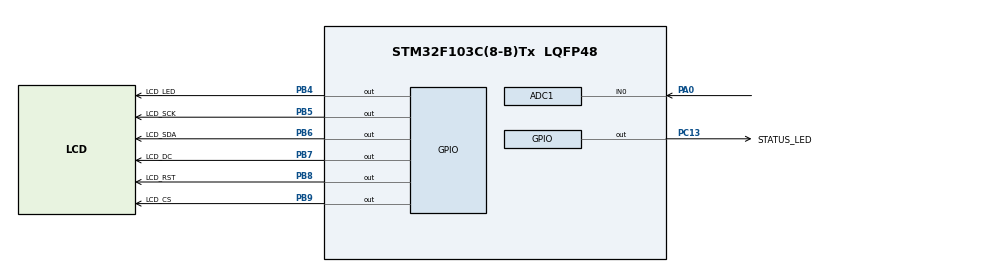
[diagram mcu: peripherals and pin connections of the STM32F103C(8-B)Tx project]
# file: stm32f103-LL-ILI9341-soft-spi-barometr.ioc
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ADC1.Channel-1\#ChannelRegularConversion=ADC_CHANNEL_0
ADC1.ExternalTrigConv=ADC_EXTERNALTRIGCONV_T3_TRGO
ADC1.NbrOfConversion=1
ADC1.NbrOfConversionFlag=1
ADC1.Rank-1\#ChannelRegularConversion=1
ADC1.SamplingTime-1\#ChannelRegularConversion=ADC_SAMPLETIME_1CYCLE_5
ADC1.master=1
Mcu.Family=STM32F1
Mcu.Name=STM32F103C(8-B)Tx
Mcu.Package=LQFP48
NVIC.PriorityGroup=NVIC_PRIORITYGROUP_4
NVIC.TIM3_IRQn=true\:0\:0\:false\:false\:true\:true\:true
PA0-WKUP.Signal=ADCx_IN0
PA13.Mode=Serial_Wire
PA13.Signal=SYS_JTMS-SWDIO
PA14.Mode=Serial_Wire
PA14.Signal=SYS_JTCK-SWCLK
PB4.GPIO_Label=LCD_LED
PB4.GPIO_ModeDefaultOutputPP=GPIO_MODE_OUTPUT_PP
PB4.GPIO_PuPd=GPIO_NOPULL
PB4.GPIO_Speed=GPIO_SPEED_FREQ_LOW
PB4.PinState=GPIO_PIN_RESET
PB4.Signal=GPIO_Output
PB5.GPIO_Label=LCD_SCK
PB5.GPIO_ModeDefaultOutputPP=GPIO_MODE_OUTPUT_PP
PB5.GPIO_PuPd=GPIO_NOPULL
PB5.GPIO_Speed=GPIO_SPEED_FREQ_HIGH
PB5.PinState=GPIO_PIN_RESET
PB5.Signal=GPIO_Output
PB6.GPIO_Label=LCD_SDA
PB6.GPIO_ModeDefaultOutputPP=GPIO_MODE_OUTPUT_PP
PB6.GPIO_PuPd=GPIO_NOPULL
PB6.GPIO_Speed=GPIO_SPEED_FREQ_HIGH
PB6.PinState=GPIO_PIN_RESET
PB6.Signal=GPIO_Output
PB7.GPIO_Label=LCD_DC
PB7.GPIO_ModeDefaultOutputPP=GPIO_MODE_OUTPUT_PP
PB7.GPIO_PuPd=GPIO_NOPULL
PB7.GPIO_Speed=GPIO_SPEED_FREQ_LOW
PB7.PinState=GPIO_PIN_RESET
PB7.Signal=GPIO_Output
PB8.GPIO_Label=LCD_RST
PB8.GPIO_ModeDefaultOutputPP=GPIO_MODE_OUTPUT_PP
PB8.GPIO_PuPd=GPIO_NOPULL
PB8.GPIO_Speed=GPIO_SPEED_FREQ_LOW
PB8.PinState=GPIO_PIN_RESET
PB8.Signal=GPIO_Output
PB9.GPIO_Label=LCD_CS
PB9.GPIO_ModeDefaultOutputPP=GPIO_MODE_OUTPUT_PP
PB9.GPIO_PuPd=GPIO_NOPULL
PB9.GPIO_Speed=GPIO_SPEED_FREQ_LOW
PB9.PinState=GPIO_PIN_RESET
PB9.Signal=GPIO_Output
PC13-TAMPER-RTC.GPIO_Label=STATUS_LED
PC13-TAMPER-RTC.GPIO_ModeDefaultOutputPP=GPIO_MODE_OUTPUT_PP
PC13-TAMPER-RTC.GPIO_PuPd=GPIO_NOPULL
PC13-TAMPER-RTC.GPIO_Speed=GPIO_SPEED_FREQ_LOW
PC13-TAMPER-RTC.PinState=GPIO_PIN_RESET
PC13-TAMPER-RTC.Signal=GPIO_Output
PD0-OSC_IN.Mode=HSE-External-Oscillator
PD0-OSC_IN.Signal=RCC_OSC_IN
PD1-OSC_OUT.Mode=HSE-External-Oscillator
PD1-OSC_OUT.Signal=RCC_OSC_OUT
ProjectManager.HeapSize=0x200
ProjectManager.StackSize=0x400
ProjectManager.TargetToolchain=Makefile
RCC.ADCPresc=RCC_ADCPCLK2_DIV6
RCC.AHBFreq_Value=72000000
RCC.APB1CLKDivider=RCC_HCLK_DIV2
RCC.APB1Freq_Value=36000000
RCC.APB1TimFreq_Value=72000000
RCC.APB2Freq_Value=72000000
RCC.APB2TimFreq_Value=72000000
RCC.HCLKFreq_Value=72000000
RCC.PLLMUL=RCC_PLL_MUL9
RCC.PLLSourceVirtual=RCC_PLLSOURCE_HSE
RCC.SYSCLKFreq_VALUE=72000000
RCC.SYSCLKSource=RCC_SYSCLKSOURCE_PLLCLK
RCC.USBFreq_Value=72000000
SH.ADCx_IN0.0=ADC1_IN0,IN0
TIM3.Period=10
TIM3.Prescaler=72-1
TIM3.TIM_MasterOutputTrigger=TIM_TRGO_UPDATE
VP_TIM3_VS_ClockSourceINT.Mode=Internal

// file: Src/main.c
/* USER CODE BEGIN Header */
/**
  ******************************************************************************
  * @file           : main.c
  * @brief          : Main program body
  ******************************************************************************
  * @attention
  *
  * <h2><center>&copy; Copyright (c) 2019 STMicroelectronics.
  * All rights reserved.</center></h2>
  *
  * This software component is licensed by ST under BSD 3-Clause license,
  * the "License"; You may not use this file except in compliance with the
  * License. You may obtain a copy of the License at:
  *                        opensource.org/licenses/BSD-3-Clause
  *
  ******************************************************************************
  */
/* USER CODE END Header */

#include "main.h"
#include "adc.h"
#include "tim.h"
#include "gpio.h"

/* USER CODE BEGIN Includes */
#include <math.h>
//#include <stdlib.h>
#include "utoa.h"
#include "ILI9341.h"

#define M_PI 3.14159

uint32_t adcResult = 0;
uint32_t max_result = 0;
float real_result[320] = {0};

uint16_t adc_counter = 0;
uint16_t i = 0;

uint16_t coord_x[320] = {0};
uint16_t coord_y[320] = {0};

uint32_t tim_counter = 0;
void fill_text(uint16_t i);

void fill_buff(uint16_t i)
{
  if(i>318)
  {
    max_result = 0;
    for(uint16_t i = 0; i < 320; i++)
    {
    //ILI9341_fillCircle(coord_x[i], coord_y[i], 2, ILI9341_BLACK);
    //ILI9341_drawLine(coord_x[i], coord_y[i], coord_x[i-1], coord_y[i-1], ILI9341_BLACK); //(  x0,y0,x1,y1,color);
    //ILI9341_drawLine(coord_x[i], coord_y[i]+1, coord_x[i-1], coord_y[i-1]+1, ILI9341_BLACK); //(  x0,y0,x1,y1,color);
    ILI9341_drawLine(coord_x[i], coord_y[i]-1, coord_x[i-1], coord_y[i-1]-1, ILI9341_BLACK); //(  x0,y0,x1,y1,color);
    //ILI9341_drawLine(coord_x[i]+1, coord_y[i], coord_x[i-1]+1, coord_y[i-1], ILI9341_BLACK); //(  x0,y0,x1,y1,color);
    ILI9341_drawLine(coord_x[i]-1, coord_y[i], coord_x[i-1]-1, coord_y[i-1], ILI9341_BLACK); //(  x0,y0,x1,y1,color);
    }

    //ILI9341_fillScreen(ILI9341_BLACK);
    for(uint16_t i = 5; i<320; i+=23) ILI9341_drawLine( i, 10, i, 230, ILI9341_WHITE); //draw vertical lines
    for(uint16_t i = 10; i<240; i+=22) ILI9341_drawLine( 10, i, 300, i, ILI9341_WHITE); //draw horizontal lines
    ILI9341_drawLine( 10, 119, 300, 119, ILI9341_WHITE); //draw horizontal lines
    //ILI9341_drawLine( 10, 121, 300, 121, ILI9341_WHITE); //draw horizontal lines
    fill_text(i);
  }

  while(adc_counter < 128) // Пока количество измерений меньше N
  {
    adcResult += HAL_ADC_GetValue(&hadc1); // Сумируем полученные значения ацп
    adc_counter++; // Увеличиваем счетчик измерений
  }

  coord_x[i] = i; // сохраняем координаты <cord_x/y> в буфер для последующей очистки дисплея
  coord_y[i] = 230-adcResult/adc_counter/18; // Вычисляем среднее значение
  real_result[i] = adcResult/adc_counter*0.82; // 3300/4096=0.80566 Вычисляем среднее значение

  if(real_result[i]<500) real_result[i] = 0;
  if(real_result[i]>500) real_result[i] -= 500;
  real_result[i] *= .4; // значение в барах

  adcResult = 0; // Обнуляем значение
  adc_counter = 0; // Обнуляем счетчик измерений
  if(real_result[i]>max_result) max_result = real_result[i]; // сохранение максимального числа
}

void write_graph(uint16_t i)
{
  if(i) // draw values
  {
    fill_text(i);
    //ILI9341_fillCircle(coord_x[i], coord_y[i], 2, ILI9341_YELLOW);
    //ILI9341_drawLine(coord_x[i], coord_y[i], coord_x[i-1], coord_y[i-1], ILI9341_CYAN); //(  x0,y0,x1,y1,color);
    //ILI9341_drawLine(coord_x[i], coord_y[i]+1, coord_x[i-1], coord_y[i-1]+1, ILI9341_GREEN); //(  x0,y0,x1,y1,color);
    ILI9341_drawLine(coord_x[i], coord_y[i]-1, coord_x[i-1], coord_y[i-1]-1, ILI9341_CYAN); //(  x0,y0,x1,y1,color);
    //ILI9341_drawLine(coord_x[i]+1, coord_y[i], coord_x[i-1]+1, coord_y[i-1], ILI9341_GREEN); //(  x0,y0,x1,y1,color);
    ILI9341_drawLine(coord_x[i]-1, coord_y[i], coord_x[i-1]-1, coord_y[i-1], ILI9341_CYAN); //(  x0,y0,x1,y1,color);
  }
}

void fill_text(uint16_t i)
{
  ILI9341_setTextBgColor(ILI9341_BLACK);

  ILI9341_setCursor(10, 15);
  ILI9341_setTextSize(2);
  ILI9341_setTextColor(ILI9341_CYAN);
  char lb_real[16] = " bar ";
  ILI9341_writeString(lb_real);

  ILI9341_setTextSize(3);
  ILI9341_setTextColor(ILI9341_YELLOW);

  char real_mv[16];
  utoa((int)real_result[i], real_mv, 10);
  if(real_result[i]<1000)
      ILI9341_write('0');
  if(real_result[i]<100)
      ILI9341_write('0');
  ILI9341_writeString(real_mv);

  ILI9341_setCursor(160, 15);
  ILI9341_setTextSize(2);
  ILI9341_setTextColor(ILI9341_CYAN);
  char lb_max[16] = " Max ";
  ILI9341_writeString(lb_max);

  ILI9341_setTextSize(3);
  ILI9341_setTextColor(ILI9341_YELLOW);

  char max_mv[16];
  utoa((int)max_result, max_mv, 10);
  if(max_result<1000)
      ILI9341_write('0');
  if(max_result<100)
      ILI9341_write('0');
  ILI9341_writeString(max_mv);
}

void stled_off(void)
{
  LL_GPIO_SetOutputPin(STATUS_LED_GPIO_Port, STATUS_LED_Pin);
}

void stled_on(void)
{
  LL_GPIO_ResetOutputPin(STATUS_LED_GPIO_Port, STATUS_LED_Pin);
}

/* USER CODE END Includes */

/* USER CODE BEGIN PV */
/* Private variables ---------------------------------------------------------*/

/* USER CODE END PV */

void SystemClock_Config(void);
/* USER CODE BEGIN PFP */
/* Private function prototypes -----------------------------------------------*/

/* USER CODE END PFP */

int main(void)
{

  /* MCU Configuration--------------------------------------------------------*/

  /* Reset of all peripherals, Initializes the Flash interface and the Systick. */
  HAL_Init();

  /* Configure the system clock */
  SystemClock_Config();

  /* Initialize all configured peripherals */
  MX_GPIO_Init();
  MX_ADC1_Init();
  MX_TIM3_Init();
  /* USER CODE BEGIN 2 */
  lcd_reset();

  stled_off();

  ILI9341_begin();

  ILI9341_setRotation(0); // clear display & draw grid
  ILI9341_fillScreen(ILI9341_BLACK);
  ILI9341_setRotation(3);
  ILI9341_fillScreen(ILI9341_BLACK);

  for(uint16_t i = 5; i<320; i+=23) ILI9341_drawLine( i, 10, i, 230, ILI9341_WHITE); //draw vertical lines
  for(uint16_t i = 10; i<240; i+=22) ILI9341_drawLine( 10, i, 300, i, ILI9341_WHITE); //draw horizontal lines
  ILI9341_drawLine( 10, 119, 300, 119, ILI9341_WHITE); //draw horizontal lines
  //ILI9341_drawLine( 10, 121, 300, 121, ILI9341_WHITE); //draw horizontal lines

  /* USER CODE END 2 */

  /* Infinite loop */
  /* USER CODE BEGIN WHILE */

  HAL_TIM_Base_Init(&htim3);
  HAL_TIM_PeriodElapsedCallback(&htim3);
  HAL_TIM_Base_Start_IT(&htim3); //запустим таймер

  // HAL_TIM_Base_Init(&htim4);
  // HAL_TIM_Base_Start_IT(&htim4); //запустим таймер

  for(uint8_t i=0;i<31;i++)
  {
    LL_GPIO_TogglePin(STATUS_LED_GPIO_Port, STATUS_LED_Pin);
    LL_mDelay(25);
  }

  HAL_ADC_Start(&hadc1);//запустим аналогово-цифровое преобразование

  while (1)
  {
    /* USER CODE END WHILE */

    /* USER CODE BEGIN 3 */
    for(uint16_t i = 0; i < 320; i++) // measurement and display redraw
    {
      LL_mDelay(2);
      fill_buff(i);
      write_graph(i);
    }
  }
  /* USER CODE END 3 */
}

void SystemClock_Config(void)
{
  LL_FLASH_SetLatency(LL_FLASH_LATENCY_2);

   if(LL_FLASH_GetLatency() != LL_FLASH_LATENCY_2)
  {
    Error_Handler();
  }
  LL_RCC_HSE_Enable();

   /* Wait till HSE is ready */
  while(LL_RCC_HSE_IsReady() != 1)
  {

  }
  LL_RCC_PLL_ConfigDomain_SYS(LL_RCC_PLLSOURCE_HSE_DIV_1, LL_RCC_PLL_MUL_9);
  LL_RCC_PLL_Enable();

   /* Wait till PLL is ready */
  while(LL_RCC_PLL_IsReady() != 1)
  {

  }
  LL_RCC_SetAHBPrescaler(LL_RCC_SYSCLK_DIV_1);
  LL_RCC_SetAPB1Prescaler(LL_RCC_APB1_DIV_2);
  LL_RCC_SetAPB2Prescaler(LL_RCC_APB2_DIV_1);
  LL_RCC_SetSysClkSource(LL_RCC_SYS_CLKSOURCE_PLL);

   /* Wait till System clock is ready */
  while(LL_RCC_GetSysClkSource() != LL_RCC_SYS_CLKSOURCE_STATUS_PLL)
  {

  }
  LL_Init1msTick(72000000);
  LL_SYSTICK_SetClkSource(LL_SYSTICK_CLKSOURCE_HCLK);
  LL_SetSystemCoreClock(72000000);
  LL_RCC_SetADCClockSource(LL_RCC_ADC_CLKSRC_PCLK2_DIV_6);
}

void Error_Handler(void)
{
}

/************************ (C) COPYRIGHT STMicroelectronics *****END OF FILE****/
